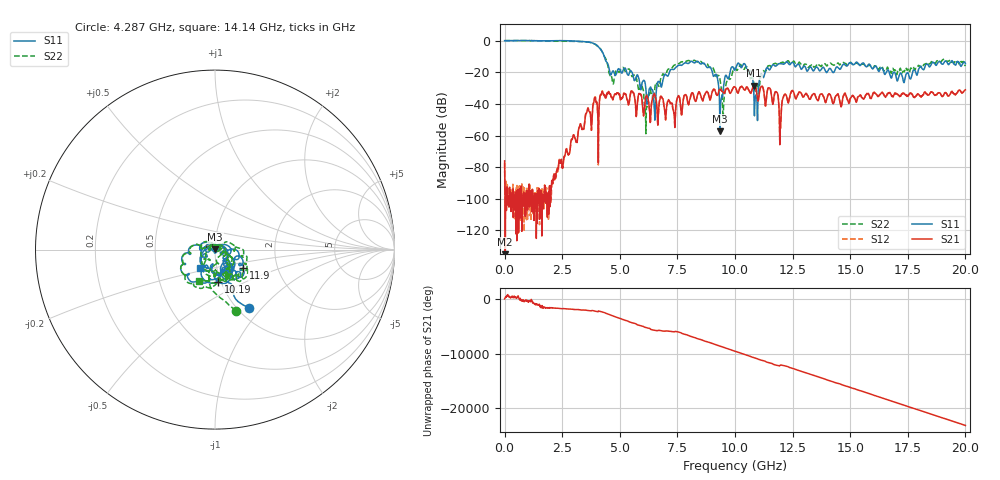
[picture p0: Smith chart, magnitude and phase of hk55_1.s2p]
#  HZ  S  RI  R  50.00
! Rohde & Schwarz Vector Network Analyzer
! Rohde-Schwarz,ZNB20-2Port,1311601062102128,3.60
! Created: UTC 4/29/2024, 3:44:26 PM
! freq[Hz]  re:S11  im:S11  re:S21  im:S21  re:S12  im:S12  re:S22  im:S22
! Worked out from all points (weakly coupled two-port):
!   2007 points, 100 kHz to 20 GHz, reference 50 ohm
!   highest |S21| = -28.46 dB at 10.83 GHz (marker M1); lowest = -141.4 dB at 30.01 MHz (marker M2)
!   lowest |S11| = -57.4 dB at 9.342 GHz (marker M3), VSWR 1.00, Z = 50.1 + j0.108 ohm
!   |S11| at or under -10 dB: 4.327 GHz to end of sweep
!   |S22| runs from -58.8 to 0.1 dB; largest |S21 - S12| = 0.0019
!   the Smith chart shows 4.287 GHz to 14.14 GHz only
!   S11 on the Smith chart (normalised r, x): 4.287 GHz: 1.13, -0.86; 10.19 GHz: 0.97, -0.36; 11.9 GHz: 1.34, -0.28; 14.14 GHz: 0.83, -0.17
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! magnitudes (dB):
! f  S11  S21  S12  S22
! 100 kHz  0.0  -76.0  -77.3  0.1
! 30.01 MHz  0.0  -141.4  -104.4  0.0
! 2.243 GHz  0.0  -83.4  -85.7  -0.3
! 3.34 GHz  -0.6  -55.3  -55.1  -0.6
! 4.287 GHz  -8.5  -33.5  -33.5  -8.9
! 4.656 GHz  -20.2  -35.6  -35.7  -23.6
! 5.653 GHz  -25.1  -36.8  -36.8  -21.6
! 6.132 GHz  -30.6  -35.4  -35.4  -58.8
! 6.67 GHz  -25.8  -47.0  -47.0  -28.0
! 8.375 GHz  -13.1  -34.2  -34.2  -13.5
! 9.173 GHz  -21.3  -33.4  -33.4  -22.5
! 9.342 GHz  -57.4  -30.8  -30.8  -23.7
! 9.502 GHz  -29.1  -33.0  -33.0  -42.3
! 10 GHz  -18.6  -29.3  -29.3  -17.5
! 10.19 GHz  -14.9  -30.8  -30.8  -16.2
! 10.83 GHz  -38.5  -28.5  -28.4  -28.4
! 11.79 GHz  -15.9  -32.4  -32.4  -14.7
! 11.9 GHz  -14.6  -41.0  -40.9  -14.4
! 13.34 GHz  -17.9  -34.6  -34.6  -14.9
! 14.14 GHz  -17.6  -34.3  -34.3  -14.3
! 16.67 GHz  -19.1  -32.9  -33.0  -18.9
! 20 GHz  -14.5  -31.1  -31.2  -15.2
